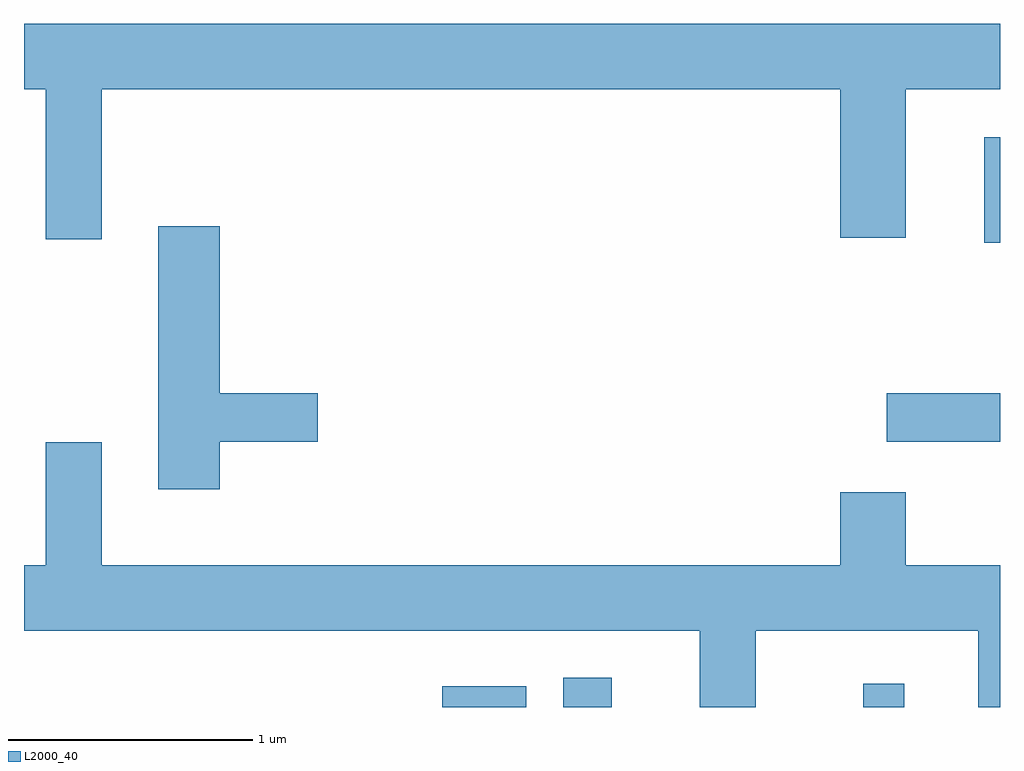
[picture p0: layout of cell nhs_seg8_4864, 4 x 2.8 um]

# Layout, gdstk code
import gdstk
lib = gdstk.Library(unit=1e-6, precision=1e-09)
def R(c, l, rs):  # rectangles x0, y0, x1, y1
    for r in rs: c.add(gdstk.rectangle(r[:2], r[2:], *l))
def P(c, l, *ps):  # polygons
    for p in ps: c.add(gdstk.Polygon(p, *l))
L2000_40 = (2000, 40)

nhs_seg8_4864 = lib.new_cell('nhs_seg8_4864')
R(nhs_seg8_4864, L2000_40, [(333.326,1818.342,333.669,1818.429), (333.821,1818.342,334.019,1818.464), (335.051,1818.342,335.219,1818.438), (335.146,1819.431,335.611,1819.629), (335.546,1820.246,335.611,1820.679)])
P(nhs_seg8_4864, L2000_40, [(331.929,1820.876),(334.956,1820.876),(334.956,1820.266),(335.224,1820.266),(335.224,1820.876),(335.611,1820.876),(335.611,1821.144),(331.611,1821.144),(331.611,1820.876),(331.701,1820.876),(331.701,1820.261),(331.929,1820.261)],
  [(332.414,1819.431),(332.814,1819.431),(332.814,1819.629),(332.414,1819.629),(332.414,1820.314),(332.161,1820.314),(332.161,1819.236),(332.414,1819.236)],
  [(334.609,1818.656),(335.521,1818.656),(335.521,1818.342),(335.611,1818.342),(335.611,1818.924),(335.224,1818.924),(335.224,1819.224),(334.956,1819.224),(334.956,1818.924),(331.929,1818.924),(331.929,1819.429),(331.701,1819.429),(331.701,1818.924),(331.611,1818.924),(331.611,1818.656),(334.381,1818.656),(334.381,1818.342),(334.609,1818.342)])

lib.write_gds('nhs_seg8_4864.gds')
